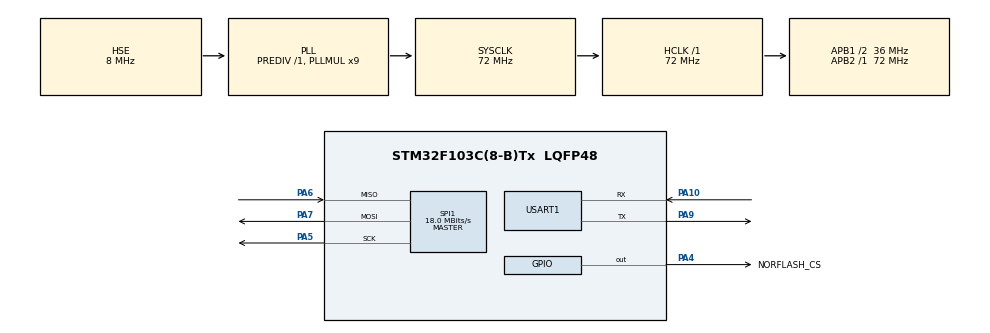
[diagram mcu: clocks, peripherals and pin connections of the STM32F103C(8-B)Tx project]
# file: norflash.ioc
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Dma.Request0=SPI1_RX
Dma.Request1=SPI1_TX
Dma.SPI1_RX.0.Direction=DMA_PERIPH_TO_MEMORY
Dma.SPI1_RX.0.Instance=DMA1_Channel2
Dma.SPI1_RX.0.MemDataAlignment=DMA_MDATAALIGN_BYTE
Dma.SPI1_RX.0.MemInc=DMA_MINC_ENABLE
Dma.SPI1_RX.0.Mode=DMA_NORMAL
Dma.SPI1_RX.0.PeriphDataAlignment=DMA_PDATAALIGN_BYTE
Dma.SPI1_RX.0.PeriphInc=DMA_PINC_DISABLE
Dma.SPI1_RX.0.Priority=DMA_PRIORITY_LOW
Dma.SPI1_TX.1.Direction=DMA_MEMORY_TO_PERIPH
Dma.SPI1_TX.1.Instance=DMA1_Channel3
Dma.SPI1_TX.1.MemDataAlignment=DMA_MDATAALIGN_BYTE
Dma.SPI1_TX.1.MemInc=DMA_MINC_ENABLE
Dma.SPI1_TX.1.Mode=DMA_NORMAL
Dma.SPI1_TX.1.PeriphDataAlignment=DMA_PDATAALIGN_BYTE
Dma.SPI1_TX.1.PeriphInc=DMA_PINC_DISABLE
Dma.SPI1_TX.1.Priority=DMA_PRIORITY_LOW
Mcu.Family=STM32F1
Mcu.Name=STM32F103C(8-B)Tx
Mcu.Package=LQFP48
NVIC.DMA1_Channel2_IRQn=true\:0\:0\:false\:false\:true\:false\:true\:true
NVIC.DMA1_Channel3_IRQn=true\:0\:0\:false\:false\:true\:false\:true\:true
NVIC.PriorityGroup=NVIC_PRIORITYGROUP_4
NVIC.SPI1_IRQn=true\:0\:0\:false\:false\:true\:true\:true\:true
PA10.Mode=Asynchronous
PA10.Signal=USART1_RX
PA13.Mode=Serial_Wire
PA13.Signal=SYS_JTMS-SWDIO
PA14.Mode=Serial_Wire
PA14.Signal=SYS_JTCK-SWCLK
PA4.GPIO_Label=NORFLASH_CS
PA4.GPIO_PuPd=GPIO_PULLUP
PA4.PinState=GPIO_PIN_SET
PA4.Signal=GPIO_Output
PA5.GPIO_Speed=GPIO_SPEED_FREQ_HIGH
PA5.Mode=Full_Duplex_Master
PA5.Signal=SPI1_SCK
PA6.GPIO_PuPd=GPIO_PULLUP
PA6.Mode=Full_Duplex_Master
PA6.Signal=SPI1_MISO
PA7.GPIO_Speed=GPIO_SPEED_FREQ_HIGH
PA7.Mode=Full_Duplex_Master
PA7.Signal=SPI1_MOSI
PA9.Mode=Asynchronous
PA9.Signal=USART1_TX
PC14-OSC32_IN.Mode=LSE-External-Oscillator
PC14-OSC32_IN.Signal=RCC_OSC32_IN
PC15-OSC32_OUT.Mode=LSE-External-Oscillator
PC15-OSC32_OUT.Signal=RCC_OSC32_OUT
PD0-OSC_IN.Mode=HSE-External-Oscillator
PD0-OSC_IN.Signal=RCC_OSC_IN
PD1-OSC_OUT.Mode=HSE-External-Oscillator
PD1-OSC_OUT.Signal=RCC_OSC_OUT
ProjectManager.HeapSize=0x200
ProjectManager.StackSize=0x400
ProjectManager.TargetToolchain=CMake
RCC.AHBFreq_Value=72000000
RCC.APB1CLKDivider=RCC_HCLK_DIV2
RCC.APB1Freq_Value=36000000
RCC.APB1TimFreq_Value=72000000
RCC.APB2Freq_Value=72000000
RCC.APB2TimFreq_Value=72000000
RCC.HCLKFreq_Value=72000000
RCC.PLLMUL=RCC_PLL_MUL9
RCC.PLLSourceVirtual=RCC_PLLSOURCE_HSE
RCC.SYSCLKFreq_VALUE=72000000
RCC.SYSCLKSource=RCC_SYSCLKSOURCE_PLLCLK
RCC.USBFreq_Value=72000000
SPI1.BaudRatePrescaler=SPI_BAUDRATEPRESCALER_4
SPI1.CLKPhase=SPI_PHASE_2EDGE
SPI1.CLKPolarity=SPI_POLARITY_HIGH
SPI1.CalculateBaudRate=18.0 MBits/s
SPI1.Direction=SPI_DIRECTION_2LINES
SPI1.Mode=SPI_MODE_MASTER
SPI1.VirtualType=VM_MASTER
USART1.VirtualMode=VM_ASYNC
board=custom

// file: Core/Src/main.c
/* USER CODE BEGIN Header */
/**
  ******************************************************************************
  * @file           : main.c
  * @brief          : Main program body
  ******************************************************************************
  * @attention
  *
  * Copyright (c) 2026 STMicroelectronics.
  * All rights reserved.
  *
  * This software is licensed under terms that can be found in the LICENSE file
  * in the root directory of this software component.
  * If no LICENSE file comes with this software, it is provided AS-IS.
  *
  ******************************************************************************
  */
/* USER CODE END Header */
#include "main.h"
#include "dma.h"
#include "spi.h"
#include "usart.h"
#include "gpio.h"

/* USER CODE BEGIN Includes */
#include "stdio.h"
#include "string.h"
#include "norflash.h"
/* USER CODE END Includes */

void SystemClock_Config(void);

/* USER CODE BEGIN 0 */
NORFLASH_S norflash;

int _write(int file, char *ptr, int len)
{
  HAL_UART_Transmit(&huart1, (uint8_t*)ptr, len, HAL_MAX_DELAY);
  return len;
}
/* USER CODE END 0 */

int main(void)
{

  /* MCU Configuration--------------------------------------------------------*/

  /* Reset of all peripherals, Initializes the Flash interface and the Systick. */
  HAL_Init();

  /* Configure the system clock */
  SystemClock_Config();

  /* Initialize all configured peripherals */
  MX_GPIO_Init();
  MX_DMA_Init();
  MX_SPI1_Init();
  MX_USART1_UART_Init();
  /* USER CODE BEGIN 2 */
  NORFLASH_CONFIG_T cfg = {&hspi1, NORFLASH_CS_GPIO_Port, NORFLASH_CS_Pin};  // SPI句柄, CS引脚
  norflash_create(&norflash, &cfg);
  printf("ID: 0x%04X\n", norflash.chip_id);

  uint8_t buf[256];

  /* ---- 阻塞方式 写/读 ---- */
  printf("--- Polling Write/Read ---\n");
  memset(buf, 0xAA, 256);
  norflash.write(&norflash, buf, 4096, 256);       // 写入（自动擦除）
  memset(buf, 0, 256);
  norflash.read(&norflash, buf, 4096, 256);         // 读取 256 字节
  for (int i = 0; i < 256; i++)
  {
    printf("%02x ", buf[i]);
  }
  printf("\n");

  /* ---- DMA方式 写/读 ---- */
  printf("--- DMA Write/Read ---\n");
  memset(buf, 0xBB, 256);
  norflash.write_dma(&norflash, buf, 8192, 256);    // DMA写入（自动擦除）
  memset(buf, 0, 256);
  norflash.read_dma(&norflash, buf, 8192, 256);      // DMA读取 256 字节
  for (int i = 0; i < 256; i++)
  {
    printf("%02x ", buf[i]);
  }
  printf("\n");
  /* USER CODE END 2 */

  /* Infinite loop */
  while (1)
  {

  }
}

void SystemClock_Config(void)
{
  RCC_OscInitTypeDef RCC_OscInitStruct = {0};
  RCC_ClkInitTypeDef RCC_ClkInitStruct = {0};

  /** Initializes the RCC Oscillators according to the specified parameters
  * in the RCC_OscInitTypeDef structure.
  */
  RCC_OscInitStruct.OscillatorType = RCC_OSCILLATORTYPE_HSE;
  RCC_OscInitStruct.HSEState = RCC_HSE_ON;
  RCC_OscInitStruct.HSEPredivValue = RCC_HSE_PREDIV_DIV1;
  RCC_OscInitStruct.HSIState = RCC_HSI_ON;
  RCC_OscInitStruct.PLL.PLLState = RCC_PLL_ON;
  RCC_OscInitStruct.PLL.PLLSource = RCC_PLLSOURCE_HSE;
  RCC_OscInitStruct.PLL.PLLMUL = RCC_PLL_MUL9;
  if (HAL_RCC_OscConfig(&RCC_OscInitStruct) != HAL_OK)
  {
    Error_Handler();
  }

  /** Initializes the CPU, AHB and APB buses clocks
  */
  RCC_ClkInitStruct.ClockType = RCC_CLOCKTYPE_HCLK|RCC_CLOCKTYPE_SYSCLK
                              |RCC_CLOCKTYPE_PCLK1|RCC_CLOCKTYPE_PCLK2;
  RCC_ClkInitStruct.SYSCLKSource = RCC_SYSCLKSOURCE_PLLCLK;
  RCC_ClkInitStruct.AHBCLKDivider = RCC_SYSCLK_DIV1;
  RCC_ClkInitStruct.APB1CLKDivider = RCC_HCLK_DIV2;
  RCC_ClkInitStruct.APB2CLKDivider = RCC_HCLK_DIV1;

  if (HAL_RCC_ClockConfig(&RCC_ClkInitStruct, FLASH_LATENCY_2) != HAL_OK)
  {
    Error_Handler();
  }
}

void Error_Handler(void)
{
  __disable_irq();
  while (1)
  {
  }
}
